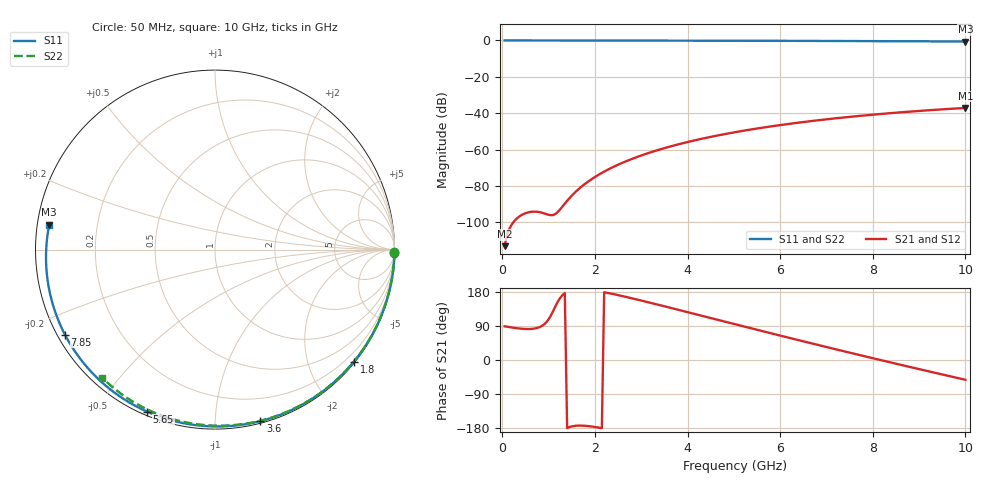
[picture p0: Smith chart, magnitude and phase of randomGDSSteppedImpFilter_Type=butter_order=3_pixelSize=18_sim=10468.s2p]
! freq	dB(S11)	phase(S11)	dB(S12)	phase(S12)
!  dB(S21)	phase(S21)	dB(S22)	phase(S22)
!S-par simulation data
#  GHz  S  DB  R 50
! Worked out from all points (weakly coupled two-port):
!   200 points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, 50 MHz to 10 GHz, reference 50 ohm
!   highest |S21| = -37.08 dB at 10 GHz (marker M1); lowest = -113.1 dB at 50 MHz (marker M2)
!   lowest |S11| = -0.6 dB at 10 GHz (marker M3), VSWR 29.28, Z = 1.72 + j3.74 ohm
!   |S11| at or under -10 dB: nowhere
!   |S22| runs from -0.4 to 0.0 dB; largest |S21 - S12| = 0
!   S11 on the Smith chart (normalised r, x): 50 MHz: open; 1.8 GHz: 0.03, -2.83; 3.6 GHz: 0.02, -1.30; 5.65 GHz: 0.02, -0.66; 7.85 GHz: 0.02, -0.26; 10 GHz: 0.03, +0.07
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0.05  -0.00 -1.1  -113.08 88.9  -113.08 88.9  -0.00 -0.8
0.45  -0.01 -9.9  -95.51 82.2  -95.51 82.2  -0.01 -6.8
0.85  -0.02 -18.6  -94.63 89.5  -94.63 89.5  -0.02 -12.8
1.25  -0.03 -27.2  -92.82 163.9  -92.82 163.9  -0.02 -18.8
1.7  -0.05 -36.8  -80.56 -173.1  -80.56 -173.1  -0.03 -25.4
1.75  -0.05 -37.8  -79.53 -173.3  -79.53 -173.3  -0.03 -26.2
1.8  -0.05 -38.9  -78.55 -173.8  -78.55 -173.8  -0.03 -26.9
2.1  -0.06 -45.1  -73.51 -178.8  -73.51 -178.8  -0.04 -31.3
2.5  -0.07 -53.4  -68.30 171.3  -68.30 171.3  -0.05 -37.1
2.9  -0.08 -61.4  -64.15 159.9  -64.15 159.9  -0.06 -42.8
3.4  -0.09 -71.3  -59.93 144.8  -59.93 144.8  -0.07 -49.8
3.6  -0.10 -75.2  -58.47 138.7  -58.47 138.7  -0.07 -52.6
4.3  -0.12 -88.4  -54.08 117.0  -54.08 117.0  -0.09 -62.2
5.05  -0.16 -102.1  -50.32 93.7  -50.32 93.7  -0.11 -72.1
5.65  -0.19 -112.8  -47.81 75.2  -47.81 75.2  -0.13 -79.9
6.15  -0.22 -121.5  -45.99 59.9  -45.99 59.9  -0.15 -86.2
6.7  -0.25 -130.9  -44.22 43.2  -44.22 43.2  -0.18 -93.0
7.3  -0.30 -141.1  -42.52 25.3  -42.52 25.3  -0.21 -100.2
7.85  -0.35 -150.5  -41.15 9.1  -41.15 9.1  -0.25 -106.7
8.35  -0.40 -159.1  -40.03 -5.4  -40.03 -5.4  -0.29 -112.6
9.2  -0.49 -174.0  -38.37 -29.7  -38.37 -29.7  -0.36 -122.3
10  -0.59 171.4  -37.08 -52.1  -37.08 -52.1  -0.44 -131.3
